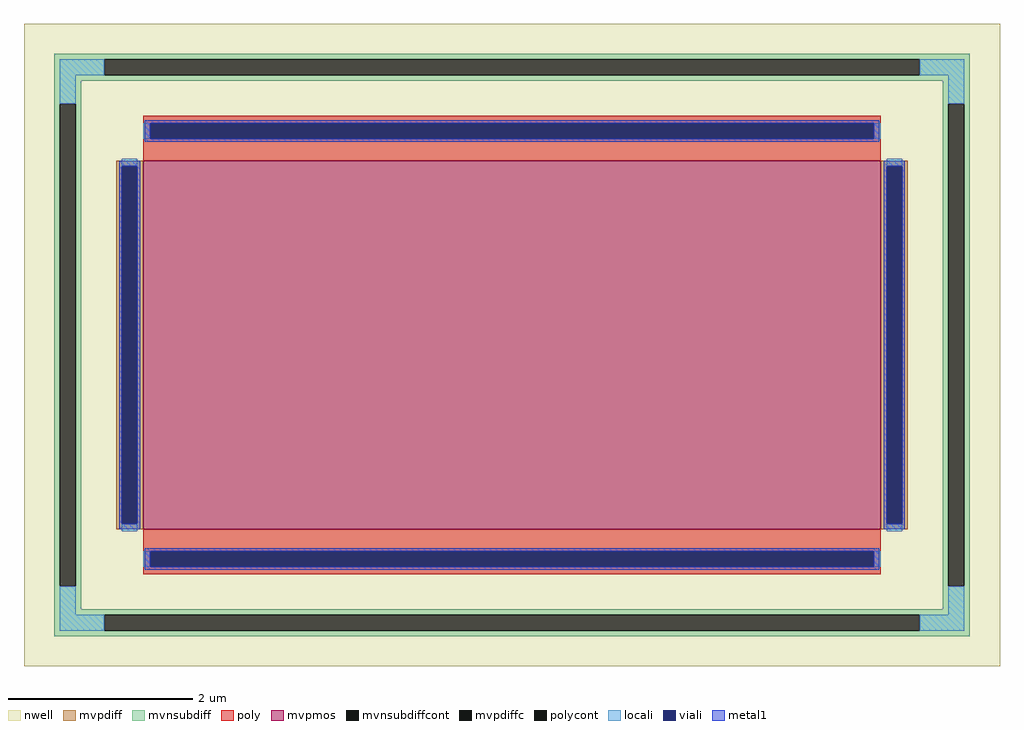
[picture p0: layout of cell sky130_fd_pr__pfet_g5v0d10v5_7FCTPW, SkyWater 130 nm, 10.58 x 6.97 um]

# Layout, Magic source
magic
tech sky130A
magscale 1 2
<< nwell >>
rect -1058 -697 1058 697
<< mvpmos >>
rect -800 -400 800 400
<< mvpdiff >>
rect -858 388 -800 400
rect -858 -388 -846 388
rect -812 -388 -800 388
rect -858 -400 -800 -388
rect 800 388 858 400
rect 800 -388 812 388
rect 846 -388 858 388
rect 800 -400 858 -388
<< mvpdiffc >>
rect -846 -388 -812 388
rect 812 -388 846 388
<< mvnsubdiff >>
rect -992 619 992 631
rect -992 585 -884 619
rect 884 585 992 619
rect -992 573 992 585
rect -992 523 -934 573
rect -992 -523 -980 523
rect -946 -523 -934 523
rect 934 523 992 573
rect -992 -573 -934 -523
rect 934 -523 946 523
rect 980 -523 992 523
rect 934 -573 992 -523
rect -992 -585 992 -573
rect -992 -619 -884 -585
rect 884 -619 992 -585
rect -992 -631 992 -619
<< mvnsubdiffcont >>
rect -884 585 884 619
rect -980 -523 -946 523
rect 946 -523 980 523
rect -884 -619 884 -585
<< poly >>
rect -800 481 800 497
rect -800 447 -784 481
rect 784 447 800 481
rect -800 400 800 447
rect -800 -447 800 -400
rect -800 -481 -784 -447
rect 784 -481 800 -447
rect -800 -497 800 -481
<< polycont >>
rect -784 447 784 481
rect -784 -481 784 -447
<< locali >>
rect -980 585 -884 619
rect 884 585 980 619
rect -980 523 -946 585
rect 946 523 980 585
rect -800 447 -784 481
rect 784 447 800 481
rect -846 388 -812 404
rect -846 -404 -812 -388
rect 812 388 846 404
rect 812 -404 846 -388
rect -800 -481 -784 -447
rect 784 -481 800 -447
rect -980 -585 -946 -523
rect 946 -585 980 -523
rect -980 -619 -884 -585
rect 884 -619 980 -585
<< viali >>
rect -784 447 784 481
rect -846 -388 -812 388
rect 812 -388 846 388
rect -784 -481 784 -447
<< metal1 >>
rect -796 481 796 487
rect -796 447 -784 481
rect 784 447 796 481
rect -796 441 796 447
rect -852 388 -806 400
rect -852 -388 -846 388
rect -812 -388 -806 388
rect -852 -400 -806 -388
rect 806 388 852 400
rect 806 -388 812 388
rect 846 -388 852 388
rect 806 -400 852 -388
rect -796 -447 796 -441
rect -796 -481 -784 -447
rect 784 -481 796 -447
rect -796 -487 796 -481
<< properties >>
string FIXED_BBOX -963 -602 963 602
string gencell sky130_fd_pr__pfet_g5v0d10v5
string library sky130
string parameters w 4 l 8 m 1 nf 1 diffcov 100 polycov 100 guard 1 glc 1 grc 1 gtc 1 gbc 1 tbcov 100 rlcov 100 topc 1 botc 1 poverlap 0 doverlap 1 lmin 0.50 wmin 0.42 compatible {sky130_fd_pr__pfet_01v8  sky130_fd_pr__pfet_01v8_lvt sky130_fd_pr__pfet_01v8_hvt  sky130_fd_pr__pfet_g5v0d10v5} full_metal 1 viasrc 100 viadrn 100 viagate 100 viagb 0 viagr 0 viagl 0 viagt 0
<< end >>
